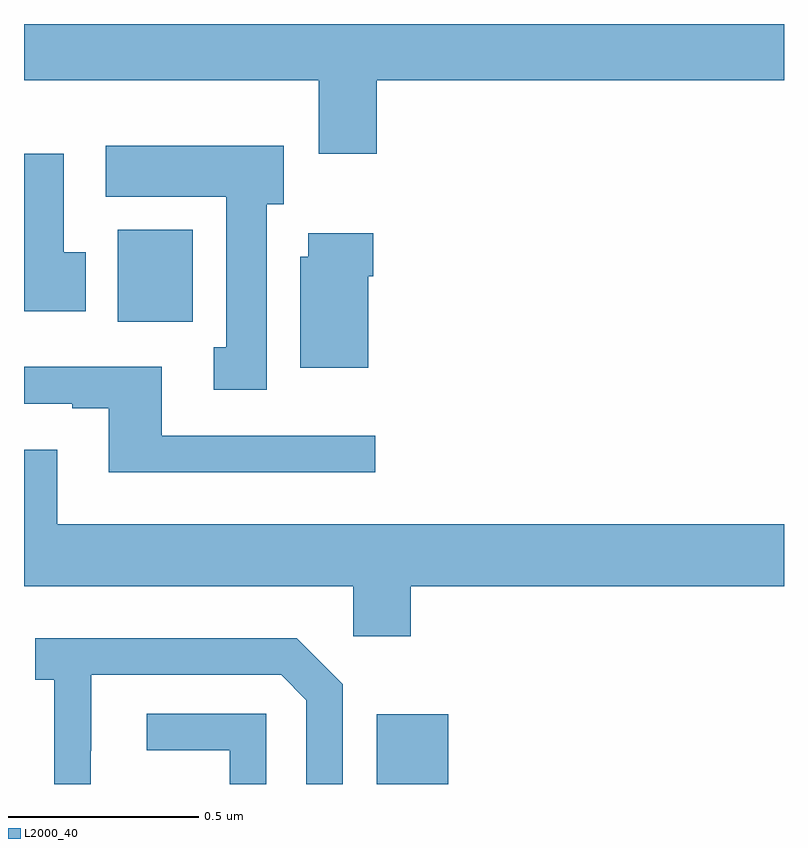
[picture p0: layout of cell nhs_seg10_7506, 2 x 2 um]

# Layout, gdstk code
import gdstk
lib = gdstk.Library(unit=1e-6, precision=1e-09)
def R(c, l, rs):  # rectangles x0, y0, x1, y1
    for r in rs: c.add(gdstk.rectangle(r[:2], r[2:], *l))
def P(c, l, *ps):  # polygons
    for p in ps: c.add(gdstk.Polygon(p, *l))
L2000_40 = (2000, 40)

nhs_seg10_7506 = lib.new_cell('nhs_seg10_7506')
R(nhs_seg10_7506, L2000_40, [(205.928,1262.5,206.116,1262.683), (205.247,1263.716,205.444,1263.958)])
P(nhs_seg10_7506, L2000_40, [(205.928,1264.352),(207,1264.352),(207,1264.5),(205,1264.5),(205,1264.352),(205.775,1264.352),(205.775,1264.158),(205.928,1264.158)],
  [(205.639,1264.026),(205.684,1264.026),(205.684,1264.18),(205.215,1264.18),(205.215,1264.046),(205.532,1264.046),(205.532,1263.65),(205.499,1263.65),(205.499,1263.537),(205.639,1263.537)],
  [(205.162,1263.9),(205.105,1263.9),(205.105,1264.159),(205,1264.159),(205,1263.744),(205.162,1263.744)],
  [(205.906,1263.836),(205.919,1263.836),(205.919,1263.949),(205.748,1263.949),(205.748,1263.888),(205.727,1263.888),(205.727,1263.596),(205.906,1263.596)],
  [(205.924,1263.417),(205.363,1263.417),(205.363,1263.598),(205,1263.598),(205,1263.501),(205.127,1263.501),(205.127,1263.489),(205.223,1263.489),(205.223,1263.32),(205.924,1263.32)],
  [(206.018,1263.02),(207,1263.02),(207,1263.184),(205.087,1263.184),(205.087,1263.379),(205,1263.379),(205,1263.02),(205.866,1263.02),(205.866,1262.889),(206.018,1262.889)],
  [(205.176,1262.587),(205.177,1262.587),(205.177,1262.787),(205.677,1262.787),(205.743,1262.721),(205.743,1262.5),(205.839,1262.5),(205.839,1262.763),(205.718,1262.884),(205.029,1262.884),(205.029,1262.774),(205.08,1262.774),(205.08,1262.5),(205.176,1262.5)],
  [(205.638,1262.685),(205.323,1262.685),(205.323,1262.589),(205.542,1262.589),(205.542,1262.5),(205.638,1262.5)])

lib.write_gds('nhs_seg10_7506.gds')
